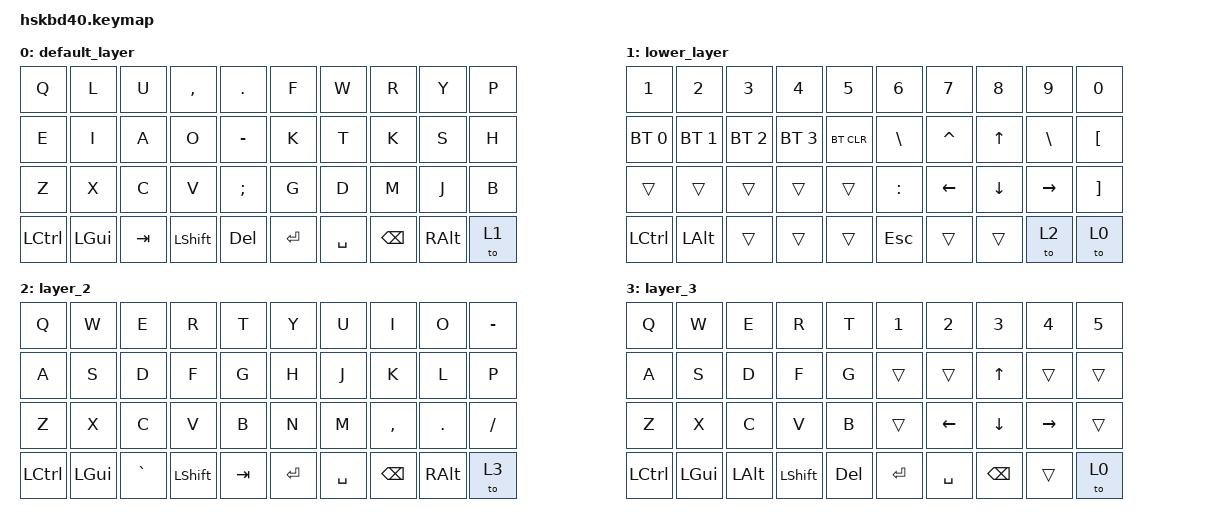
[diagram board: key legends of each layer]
/*
 * Copyright (c) 2025 HSKBD40
 * SPDX-License-Identifier: MIT
 */

#include <behaviors.dtsi>
#include <dt-bindings/zmk/bt.h>
#include <dt-bindings/zmk/keys.h>

/ {
    combos {
        compatible = "zmk,combos";

        Japanese {
            bindings = <&kp LANG1>;
            key-positions = <13 12>;
        };

        English {
            bindings = <&kp LANGUAGE_2>;
            key-positions = <16 17>;
        };

        Esc {
            bindings = <&kp ESC>;
            key-positions = <33 35>;
        };
    };

    keymap {
        compatible = "zmk,keymap";

        default_layer {
            // -----------------------------------------------------------------------------------------
            // | Q  | W  | E  | R  | T  |   | Y  | U  | I  | O  | P  |
            // | A  | S  | D  | F  | G  |   | H  | J  | K  | L  | ;  |
            // | Z  | X  | C  | V  | B  |   | N  | M  | ,  | .  | /  |
            // |LCTL|LGUI|LALT| SPC| TAB|   | ENT| BSP|RALT| MO1| ESC|

            bindings = <
&kp Q      &kp L     &kp U    &kp COMMA  &kp PERIOD     &kp F    &kp W      &kp R     &kp Y     &kp P
&kp E      &kp I     &kp A    &kp O      &kp MINUS      &kp K    &kp T      &kp K     &kp S     &kp H
&kp Z      &kp X     &kp C    &kp V      &kp SEMICOLON  &kp G    &kp D      &kp M     &kp J     &kp B
&kp LCTRL  &kp LGUI  &kp TAB  &kp LSHFT  &kp DEL        &kp RET  &kp SPACE  &kp BSPC  &kp RALT  &to 1
            >;
        };

        lower_layer {
            bindings = <
&kp N1        &kp N2        &kp N3        &kp N4        &kp N5      &kp N6     &kp N7     &kp N8    &kp N9     &kp N0
&bt BT_SEL 0  &bt BT_SEL 1  &bt BT_SEL 2  &bt BT_SEL 3  &bt BT_CLR  &kp BSLH   &kp CARET  &kp UP    &kp BSLH   &kp LBKT
&trans        &trans        &trans        &trans        &trans      &kp COLON  &kp LEFT   &kp DOWN  &kp RIGHT  &kp RBKT
&kp LCTRL     &kp LALT      &trans        &trans        &trans      &kp ESC    &trans     &trans    &to 2      &to 0
            >;
        };

        layer_2 {
            bindings = <
&kp Q      &kp W         &kp E      &kp R      &kp T    &kp Y      &kp U      &kp I      &kp O          &kp MINUS
&kp A      &kp S         &kp D      &kp F      &kp G    &kp H      &kp J      &kp K      &kp L          &kp P
&kp Z      &kp X         &kp C      &kp V      &kp B    &kp N      &kp M      &kp COMMA  &kp DOT        &kp FSLH
&kp LCTRL  &kp LEFT_GUI  &kp GRAVE  &kp LSHFT  &kp TAB  &kp ENTER  &kp SPACE  &kp BSPC   &kp RIGHT_ALT  &to 3
            >;
        };

        layer_3 {
            bindings = <
&kp Q      &kp W     &kp E     &kp R      &kp T    &kp N1     &kp N2     &kp N3    &kp N4     &kp N5
&kp A      &kp S     &kp D     &kp F      &kp G    &trans     &trans     &kp UP    &trans     &trans
&kp Z      &kp X     &kp C     &kp V      &kp B    &trans     &kp LEFT   &kp DOWN  &kp RIGHT  &trans
&kp LCTRL  &kp LGUI  &kp LALT  &kp LSHFT  &kp DEL  &kp ENTER  &kp SPACE  &kp BSPC  &trans     &to 0
            >;
        };
    };
};
